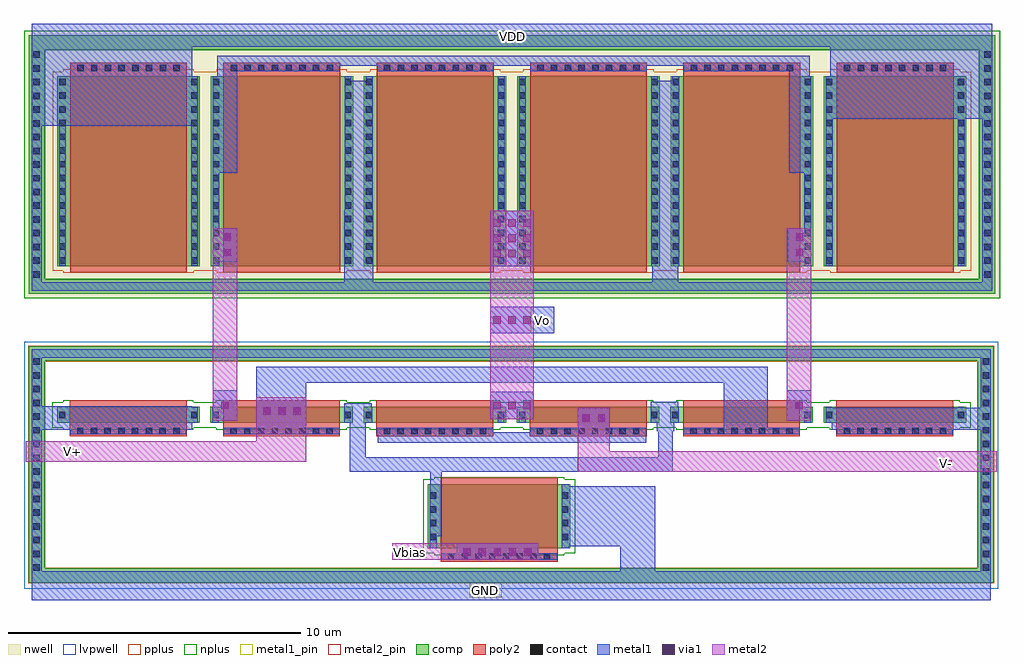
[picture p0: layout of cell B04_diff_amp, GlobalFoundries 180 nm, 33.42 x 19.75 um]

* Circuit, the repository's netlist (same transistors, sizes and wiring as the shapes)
** sch_path: /foss/designs/AURA-Event-Driven-Mixed-Signal-ASIC-for-Acoustic-Pattern-Detection/analog/B04_diff_amp.sch
.subckt B04_diff_amp VDD Vo V+ V- Vbias VSS
*.PININFO VDD:B VSS:B V+:I V-:I Vo:O Vbias:I
M1 net1 V+ net2 VSS nfet_03v3 L=4u W=0.55u nf=1 m=2
M2 net2 Vbias VSS VSS nfet_03v3 L=4u W=2.2u nf=1
M3 Vo V- net2 VSS nfet_03v3 L=4u W=0.55u nf=1 m=2
M4 Vo net1 VDD VDD pfet_03v3 L=4u W=6.5u nf=1 m=2
M5 net1 net1 VDD VDD pfet_03v3 L=4u W=6.5u nf=1 m=2
MDummy VDD VDD VDD VDD pfet_03v3 L=4u W=6.5u nf=1
MDummy1 VDD VDD VDD VDD pfet_03v3 L=4u W=6.5u nf=1
Mdummy2 VSS VSS VSS VSS nfet_03v3 L=4u W=0.55u nf=1
Mdummy3 VSS VSS VSS VSS nfet_03v3 L=4u W=0.55u nf=1
.ends

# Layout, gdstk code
import gdstk
lib = gdstk.Library(unit=1e-6, precision=1e-09)
def R(c, l, rs):  # rectangles x0, y0, x1, y1
    for r in rs: c.add(gdstk.rectangle(r[:2], r[2:], *l))
def A(c, l, x, y, w, h, nx, ny, dx, dy):  # array of equal rectangles
    R(c, l, [(x+i*dx, y+j*dy, x+i*dx+w, y+j*dy+h) for i in range(nx) for j in range(ny)])
nwell = (21, 0)
comp = (22, 0)
poly2 = (30, 0)
pplus = (31, 0)
nplus = (32, 0)
contact = (33, 0)
metal1 = (34, 0)
metal1_pin = (34, 10)
via1 = (35, 0)
metal2 = (36, 0)
metal2_pin = (36, 10)
lvpwell = (204, 0)

nfet_03v3_lt7u5f = lib.new_cell('nfet_03v3_LT7U5F')
R(nfet_03v3_lt7u5f, comp, [(-2.44,-0.155,2.44,0.395)])
R(nfet_03v3_lt7u5f, poly2, [(-2,-0.615,2,0.615)])
R(nfet_03v3_lt7u5f, nplus, [(-2.23,-0.385,2.23,-0.315), (-2.6,-0.315,2.6,0.555), (-2.23,0.555,2.23,0.625)])
A(nfet_03v3_lt7u5f, contact, -1.755, -0.545, 0.22, 0.22, 8, 1, 0.47, 0)
R(nfet_03v3_lt7u5f, contact, [(-2.37,0.01,-2.15,0.23), (2.15,0.01,2.37,0.23)])
R(nfet_03v3_lt7u5f, metal1, [(-1.99,-0.55,1.99,-0.32), (-2.375,-0.145,-2.145,0.385), (2.145,-0.145,2.375,0.385)])
R(nfet_03v3_lt7u5f, lvpwell, [(-2.56,-0.735,2.56,0.735)])

nfet_03v3_lprcze = lib.new_cell('nfet_03v3_LPRCZE')
R(nfet_03v3_lprcze, comp, [(-2.44,-0.98,2.44,1.22)])
R(nfet_03v3_lprcze, poly2, [(-2,-1.44,2,1.44)])
R(nfet_03v3_lprcze, nplus, [(-2.23,-1.21,2.23,-1.14), (-2.6,-1.14,2.6,1.38), (-2.23,1.38,2.23,1.45)])
A(nfet_03v3_lprcze, contact, -1.755, -1.37, 0.22, 0.22, 8, 1, 0.47, 0)
A(nfet_03v3_lprcze, contact, -2.37, -0.695, 0.22, 0.22, 1, 4, 0, 0.47)
A(nfet_03v3_lprcze, contact, 2.15, -0.695, 0.22, 0.22, 1, 4, 0, 0.47)
R(nfet_03v3_lprcze, metal1, [(-1.99,-1.375,1.99,-1.145), (-2.375,-0.97,-2.145,1.21), (2.145,-0.97,2.375,1.21)])
R(nfet_03v3_lprcze, lvpwell, [(-2.56,-1.56,2.56,1.56)])

pfet_03v3_ynzbkp = lib.new_cell('pfet_03v3_YNZBKP')
R(pfet_03v3_ynzbkp, nwell, [(-2.87,-4.02,2.87,4.02)])
R(pfet_03v3_ynzbkp, comp, [(-2.44,-3.37,2.44,3.13)])
R(pfet_03v3_ynzbkp, poly2, [(-2,-3.59,2,3.59)])
R(pfet_03v3_ynzbkp, pplus, [(-2.23,-3.6,2.23,-3.53), (-2.6,-3.53,2.6,3.29), (-2.23,3.29,2.23,3.36)])
A(pfet_03v3_ynzbkp, contact, -2.37, -3.285, 0.22, 0.22, 1, 14, 0, 0.47)
A(pfet_03v3_ynzbkp, contact, 2.15, -3.285, 0.22, 0.22, 1, 14, 0, 0.47)
A(pfet_03v3_ynzbkp, contact, -1.755, 3.3, 0.22, 0.22, 8, 1, 0.47, 0)
R(pfet_03v3_ynzbkp, metal1, [(-2.375,-3.36,-2.145,3.12), (2.145,-3.36,2.375,3.12), (-1.99,3.295,1.99,3.525)])

b04_diff_amp = lib.new_cell('B04_diff_amp')
R(b04_diff_amp, nwell, [(-7.8,-5.85,25.6,3.3)])
R(b04_diff_amp, comp, [(-7.65,-15.6,25.4,-15.1), (-7.65,-15.1,-7.1,-8), (24.85,-15.1,25.4,-8), (-7.65,-8,25.4,-7.5), (-7.65,-5.7,25.45,-5.2), (-7.65,-5.2,-7.1,2.65), (24.9,-5.2,25.45,2.65), (-7.65,2.65,25.45,3.15)])
A(b04_diff_amp, pplus, -1.63, -4.91, 0.05, 6.82, 5, 1, 5.25, 0)
R(b04_diff_amp, pplus, [(-7.67,-15.62,25.42,-15.08), (-7.67,-15.08,-7.08,-8.02), (24.83,-15.08,25.42,-8.02), (-7.67,-8.02,25.42,-7.48)])
A(b04_diff_amp, nplus, -1.64, -10.28, 0.05, 0.87, 5, 1, 5.25, 0)
R(b04_diff_amp, nplus, [(-7.81,-5.86,25.61,-5.18), (-7.81,-5.18,-7.08,2.63), (24.88,-5.18,25.61,2.63), (-7.81,2.63,25.61,3.31)])
A(b04_diff_amp, contact, -7.485, -15.185, 0.22, 0.22, 1, 16, 0, 0.47)
A(b04_diff_amp, contact, 25.015, -15.185, 0.22, 0.22, 1, 16, 0, 0.47)
A(b04_diff_amp, contact, -7.485, -5.145, 0.22, 0.22, 1, 17, 0, 0.47)
A(b04_diff_amp, contact, 25.065, -5.145, 0.22, 0.22, 1, 17, 0, 0.47)
R(b04_diff_amp, metal1, [(-7.55,-16.2,25.3,-15.2), (-7.55,-15.2,-7.2,-10.35), (12.6,-15.2,13.8,-14.35), (24.95,-15.2,25.3,-10.35), (7,-14.8,9.8,-14.25), (10.8,-14.35,13.8,-12.3), (6.1,-14,6.5,-11.8), (3.35,-11.8,14.4,-11.3), (3.35,-11.3,3.9,-10.05), (13.9,-11.3,14.4,-10.4), (4.3,-10.8,13.5,-10.45), (16.15,-10.45,17.65,-8.75), (0.15,-10.4,1.85,-8.75), (13.85,-10.4,14.45,-10.1), (-7.55,-10.35,-2.05,-9.55), (11.15,-10.35,12.25,-9.6), (19.85,-10.35,25.3,-9.6), (13.65,-10.1,14.6,-9.4), (-1.35,-10.05,-0.5,-9), (3.15,-10.05,4.1,-9.45), (18.3,-10.05,19.15,-9), (8.15,-10,9.65,-9.05), (24.95,-9.6,25.3,-7.9), (-7.55,-9.55,-7.2,-7.9), (0.15,-8.75,17.65,-8.2), (-7.55,-7.9,25.3,-7.6), (8.15,-7.05,10.35,-6.15), (-7.55,-5.6,25.35,-5.3), (-7.55,-5.3,-7.2,0.05), (3.15,-5.3,4.15,-2.85), (13.7,-5.3,14.6,-2.9), (25,-5.3,25.35,0.3), (8.15,-4.75,9.65,-2.85), (-1.25,-4.6,-0.5,-3.45), (18.35,-4.6,19.1,-3.45), (13.75,-2.9,14.55,1.6), (3.25,-2.85,4.05,1.6), (-1.2,-1.55,-0.5,2.1), (18.4,-1.55,19.1,2.1), (-7.55,0.05,-2.05,2.75), (19.8,0.3,25.35,2.75), (-1.2,2.1,19.1,2.45), (-7.55,2.75,25.35,3.55)])
R(b04_diff_amp, metal1_pin, [(7.45,-16.1,8.55,-15.6), (9.55,-7.05,10.35,-6.15), (8.5,3,9.35,3.2)])
A(b04_diff_amp, via1, 7.23, -14.68, 0.26, 0.26, 5, 1, 0.52, 0)
A(b04_diff_amp, via1, 0.375, -9.855, 0.26, 0.26, 3, 1, 0.52, 0)
A(b04_diff_amp, via1, 8.25, -9.655, 0.26, 0.26, 3, 2, 0.52, 2.925)
A(b04_diff_amp, via1, 8.25, -4.45, 0.26, 0.26, 3, 3, 0.52, 0.52)
R(b04_diff_amp, via1, [(11.31,-10.08,11.57,-9.82), (11.83,-10.08,12.09,-9.82), (-1.055,-9.655,-0.795,-9.395), (18.595,-9.655,18.855,-9.395), (-0.98,-4.415,-0.72,-4.155), (18.62,-4.415,18.88,-4.155), (-0.98,-3.895,-0.72,-3.635), (18.62,-3.895,18.88,-3.635)])
R(b04_diff_amp, metal2, [(4.8,-14.8,9.8,-14.25), (11.15,-11.8,25.5,-11.1), (-7.75,-11.45,1.85,-10.75), (11.15,-11.1,12.25,-9.6), (0.15,-10.75,1.85,-9.25), (-1.35,-10.05,-0.5,-3.45), (18.3,-10.05,19.15,-3.45), (8.15,-10,9.65,-2.85)])
R(b04_diff_amp, metal2_pin, [(5.3,-14.65,5.5,-14.45), (23.55,-11.6,23.95,-11.4), (-6.35,-11.2,-5.95,-11)])
R(b04_diff_amp, lvpwell, [(-7.8,-15.8,25.55,-7.35)])
b04_diff_amp.add(gdstk.Reference(nfet_03v3_lt7u5f, (-4.24,-9.965)))
b04_diff_amp.add(gdstk.Reference(nfet_03v3_lt7u5f, (1.01,-9.965)))
b04_diff_amp.add(gdstk.Reference(nfet_03v3_lprcze, (8.46,-13.44)))
b04_diff_amp.add(gdstk.Reference(nfet_03v3_lt7u5f, (6.26,-9.965)))
b04_diff_amp.add(gdstk.Reference(nfet_03v3_lt7u5f, (16.76,-9.965)))
b04_diff_amp.add(gdstk.Reference(nfet_03v3_lt7u5f, (11.51,-9.965)))
b04_diff_amp.add(gdstk.Reference(nfet_03v3_lt7u5f, (22.01,-9.965)))
b04_diff_amp.add(gdstk.Reference(pfet_03v3_ynzbkp, (-4.23,-1.38)))
b04_diff_amp.add(gdstk.Reference(pfet_03v3_ynzbkp, (1.02,-1.38)))
b04_diff_amp.add(gdstk.Reference(pfet_03v3_ynzbkp, (6.27,-1.38)))
b04_diff_amp.add(gdstk.Reference(pfet_03v3_ynzbkp, (11.52,-1.38)))
b04_diff_amp.add(gdstk.Reference(pfet_03v3_ynzbkp, (16.77,-1.38)))
b04_diff_amp.add(gdstk.Reference(pfet_03v3_ynzbkp, (22.02,-1.38)))
b04_diff_amp.add(gdstk.Label('VDD', (8.925,3.1), layer=34, texttype=10))
b04_diff_amp.add(gdstk.Label('GND', (8,-15.85), layer=34, texttype=10))
b04_diff_amp.add(gdstk.Label('Vbias', (5.4,-14.55), layer=36, texttype=10))
b04_diff_amp.add(gdstk.Label('V+', (-6.15,-11.1), layer=36, texttype=10))
b04_diff_amp.add(gdstk.Label('V-', (23.75,-11.5), layer=36, texttype=10))
b04_diff_amp.add(gdstk.Label('Vo', (9.95,-6.6), layer=34, texttype=10))

lib.write_gds('B04_diff_amp.gds')
